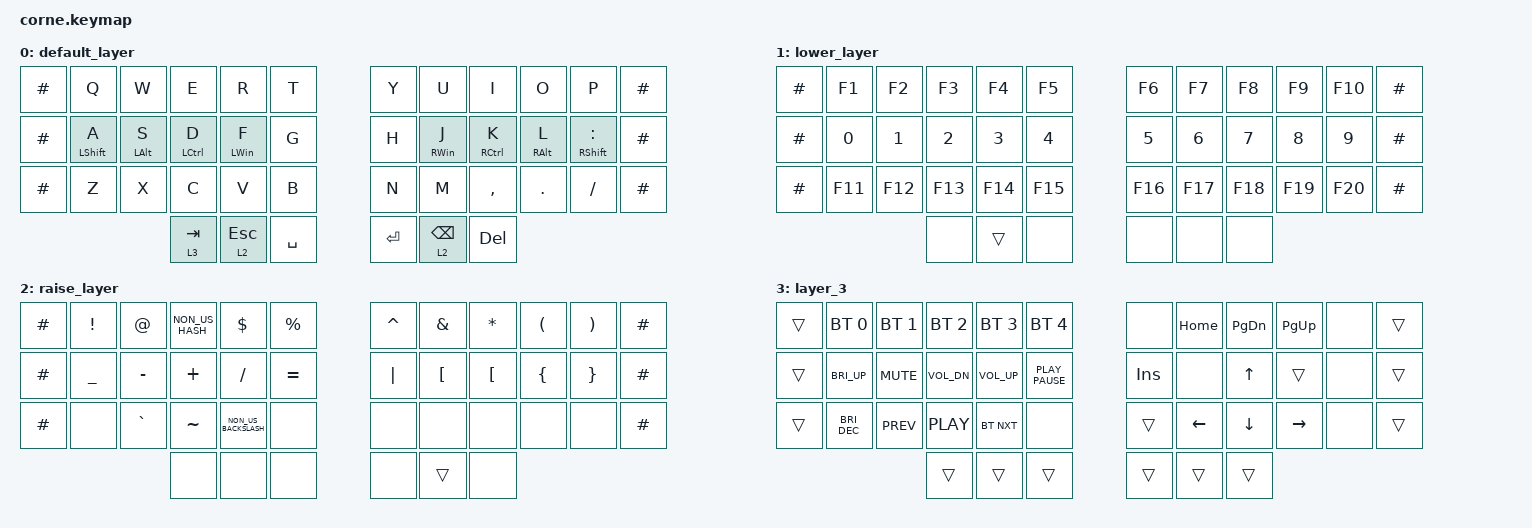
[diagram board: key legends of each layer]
/*
 * Copyright (c) 2020 The ZMK Contributors
 *
 * SPDX-License-Identifier: MIT
 */

#include <behaviors.dtsi>
#include <dt-bindings/zmk/bt.h>
#include <dt-bindings/zmk/keys.h>

&mt { flavor = "tap-preferred"; };

/ {
    behaviors {
        hm: homerow_mods {
            compatible = "zmk,behavior-hold-tap";
            label = "HOMEROW_MODS";
            bindings = <&kp>, <&kp>;

            #binding-cells = <2>;
            tapping-term-ms = <200>;
        };

        td0: tap_dance_0 {
            compatible = "zmk,behavior-tap-dance";
            label = "TAP_DANCE_0";
            #binding-cells = <0>;
            bindings = <&hm RIGHT_GUI SEMI>, <&kp SQT>;

            tapping-term-ms = <200>;
        };

        td1: tap_dance_1 {
            compatible = "zmk,behavior-tap-dance";
            label = "TAP_DANCE_1";
            #binding-cells = <0>;
            bindings = <&mt LEFT_CONTROL TAB>, <&kp ESC>;

            tapping-term-ms = <200>;
        };
    };

    keymap {
        compatible = "zmk,keymap";

        default_layer {
            // -----------------------------------------------------------------------------------------
            // |  TAB  |  Q  |  W  |  E  |  R  |  T  |   |  Y  |  U   |  I  |  O  |  P  | BSPC |
            // | CTRL |  A  |  S  |  D  |  F  |  G  |   |  H  |  J   |  K  |  L  |  ;  |  '   |
            // | SHFT |  Z  |  X  |  C  |  V  |  B  |   |  N  |  M   |  ,  |  .  |  /  | ESC  |
            //                    | GUI | LWR | SPC |   | ENT | RSE  | ALT |

            bindings = <
&kp HASH  &kp Q             &kp W           &kp E        &kp R           &kp T        &kp Y    &kp U            &kp I                &kp O            &kp P                  &kp HASH
&kp HASH  &mt LEFT_SHIFT A  &mt LEFT_ALT S  &mt LCTRL D  &mt LEFT_WIN F  &kp G        &kp H    &mt RIGHT_WIN J  &mt RIGHT_CONTROL K  &mt RIGHT_ALT L  &mt RIGHT_SHIFT COLON  &kp HASH
&kp HASH  &kp Z             &kp X           &kp C        &kp V           &kp B        &kp N    &kp M            &kp COMMA            &kp DOT          &kp FSLH               &kp HASH
                                            &lt 3 TAB    &lt 2 ESC       &kp SPACE    &kp RET  &lt 2 BACKSPACE  &kp DEL
            >;
        };

        lower_layer {
            // -----------------------------------------------------------------------------------------
            // |  TAB |  1  |  2  |  3  |  4  |  5  |   |  6  |  7  |  8  |  9  |  0  | BSPC |
            // | BTCLR| BT1 | BT2 | BT3 | BT4 | BT5 |   | LFT | DWN |  UP | RGT |     |      |
            // | SHFT |     |     |     |     |     |   |     |     |     |     |     |      |
            //                    | GUI |     | SPC |   | ENT |     | ALT |

            bindings = <
&kp HASH  &kp F1   &kp F2        &kp F3        &kp F4        &kp F5          &kp F6   &kp F7        &kp F8   &kp F9   &kp F10  &kp HASH
&kp HASH  &kp N0   &kp NUMBER_1  &kp NUMBER_2  &kp NUMBER_3  &kp NUMBER_4    &kp N5   &kp NUMBER_6  &kp N7   &kp N8   &kp N9   &kp HASH
&kp HASH  &kp F11  &kp F12       &kp F13       &kp F14       &kp F15         &kp F16  &kp F17       &kp F18  &kp F19  &kp F20  &kp HASH
                                 &none         &trans        &none           &none    &none         &none
            >;
        };

        raise_layer {
            // -----------------------------------------------------------------------------------------
            // |  TAB |  !  |  @  |  #  |  $  |  %  |   |  ^  |  &  |  *  |  (  |  )  | BSPC |
            // | CTRL |     |     |     |     |     |   |  -  |  =  |  [  |  ]  |  \  |  `   |
            // | SHFT |     |     |     |     |     |   |  _  |  +  |  {  |  }  | "|" |  ~   |
            //                    | GUI |     | SPC |   | ENT |     | ALT |

            bindings = <
&kp HASH  &kp EXCLAMATION  &kp AT_SIGN  &kp NON_US_HASH  &kp DOLLAR            &kp PERCENT    &kp CARET  &kp AMPERSAND     &kp ASTERISK      &kp LEFT_PARENTHESIS  &kp RIGHT_PARENTHESIS  &kp HASH
&kp HASH  &kp UNDERSCORE   &kp MINUS    &kp PLUS         &kp SLASH             &kp EQUAL      &kp PIPE   &kp LEFT_BRACKET  &kp LEFT_BRACKET  &kp LEFT_BRACE        &kp RIGHT_BRACE        &kp HASH
&kp HASH  &none            &kp GRAVE    &kp TILDE        &kp NON_US_BACKSLASH  &none          &none      &none             &none             &none                 &none                  &kp HASH
                                        &none            &none                 &none          &none      &trans            &none
            >;
        };

        layer_3 {
            bindings = <
&trans  &bt BT_SEL 0          &bt BT_SEL 1  &bt BT_SEL 2  &bt BT_SEL 3  &bt BT_SEL 4        &none    &kp HOME  &kp PAGE_DOWN  &kp PAGE_UP  &none  &trans
&trans  &kp C_BRI_UP          &kp K_MUTE    &kp C_VOL_DN  &kp C_VOL_UP  &kp K_PLAY_PAUSE    &kp INS  &none     &kp UP_ARROW   &trans       &none  &trans
&trans  &kp C_BRIGHTNESS_DEC  &kp K_PREV    &kp C_PLAY    &bt BT_NXT    &none               &trans   &kp LEFT  &kp DOWN       &kp RIGHT    &none  &trans
                                            &trans        &trans        &trans              &trans   &trans    &trans
            >;
        };
    };
};
